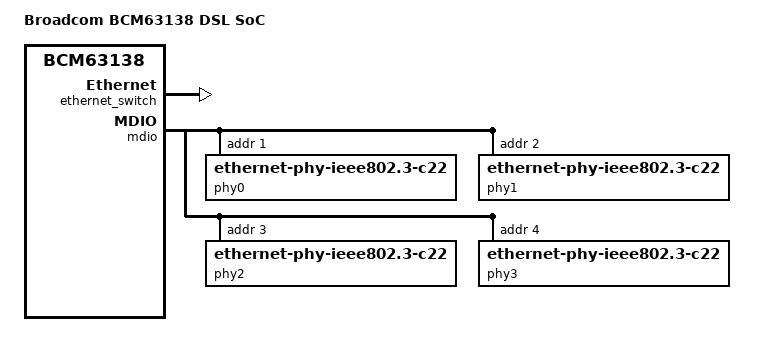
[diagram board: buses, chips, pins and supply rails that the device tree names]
/*
 * Broadcom BCM63138 DSL SoCs Device Tree
 */

#include <dt-bindings/interrupt-controller/arm-gic.h>
#include <dt-bindings/interrupt-controller/irq.h>

#include "skeleton.dtsi"

/ {
	compatible = "brcm,bcm63138";
	model = "Broadcom BCM63138 DSL SoC";
	interrupt-parent = <&gic>;

	aliases {
		uart0 = &serial0;
		uart1 = &serial1;
	};

	cpus {
		#address-cells = <1>;
		#size-cells = <0>;

		cpu@0 {
			device_type = "cpu";
			compatible = "arm,cortex-a9";
			next-level-cache = <&L2>;
			reg = <0>;
		};

		cpu@1 {
			device_type = "cpu";
			compatible = "arm,cortex-a9";
			next-level-cache = <&L2>;
			reg = <1>;
		};
	};

	clocks {
		#address-cells = <1>;
		#size-cells = <0>;

		arm_timer_clk: arm_timer_clk {
			#clock-cells = <0>;
			compatible = "fixed-clock";
			clock-frequency = <500000000>;
		};

		periph_clk: periph_clk {
			#clock-cells = <0>;
			compatible = "fixed-clock";
			clock-frequency = <50000000>;
			clock-output-names = "periph";
		};
	};

	/* ARM bus */
	axi@80000000 {
		compatible = "simple-bus";
		ranges = <0 0x80000000 0x784000>;
		#address-cells = <1>;
		#size-cells = <1>;

		L2: cache-controller@1d000 {
			compatible = "arm,pl310-cache";
			reg = <0x1d000 0x1000>;
			cache-unified;
			cache-level = <2>;
			cache-size = <524288>;
			cache-sets = <1024>;
			cache-line-size = <32>;
			interrupts = <GIC_PPI 0 IRQ_TYPE_LEVEL_HIGH>;
		};

		scu: scu@1e000 {
			compatible = "arm,cortex-a9-scu";
			reg = <0x1e000 0x100>;
		};

		gic: interrupt-controller@1e100 {
			compatible = "arm,cortex-a9-gic";
			reg = <0x1f000 0x1000
				0x1e100 0x100>;
			#interrupt-cells = <3>;
			#address-cells = <0>;
			interrupt-controller;
		};

		global_timer: timer@1e200 {
			compatible = "arm,cortex-a9-global-timer";
			reg = <0x1e200 0x20>;
			interrupts = <GIC_PPI 11 IRQ_TYPE_LEVEL_HIGH>;
			clocks = <&arm_timer_clk>;
		};

		local_timer: local-timer@1e600 {
			compatible = "arm,cortex-a9-twd-timer";
			reg = <0x1e600 0x20>;
			interrupts = <GIC_PPI 13 IRQ_TYPE_LEVEL_HIGH>;
			clocks = <&arm_timer_clk>;
		};

		twd_watchdog: watchdog@1e620 {
			compatible = "arm,cortex-a9-twd-wdt";
			reg = <0x1e620 0x20>;
			interrupts = <GIC_PPI 14 IRQ_TYPE_LEVEL_HIGH>;
		};
                switch_top@800000 {
                        #address-cells = <1>;
                        #size-cells = <1>;
                        compatible = "brcm,bcm63138-switch-top-v3.19",
                                "simple-bus";
                        ranges = <0 0x80000 0x40804>;

                        ethernet_switch: ethernet_switch@0 {
                                #address-cells = <2>;
                                #size-cells = <0>;
                                brcm,num-acb-queues = <64>;
                                brcm,num-gphy = <1>;
                                brcm,num-rgmii-ports = <4>;
                                compatible = "brcm,bcm63138-switch-v1.1",
                                        "brcm,bcm53012";
                                /*dsa,ethernet = <&enet_0>;*/
				dsa,mii-bus = <&mdio>;
                                reg = <0x0 0x40000 0x40000 0x120
                                        0x40340 0x30 0x40380 0x30
                                        0x40400 0x34 0x40600 0x208>;
                                reg-names = "core",
                                        "reg",
                                        "intrl2_0",
                                        "intrl2_1",
                                        "fcb",
                                        "acb";
                                interrupts = <0 58 0 0 59 0x0>;
                                interrupt-names = "switch_0",
                                        "switch_1";
                                brcm,fcb-pause-override;
                                brcm,acb-packets-inflight;

                                switch@0 {
                                        #address-cells = <1>;
                                        #size-cells = <0>;
                                        reg = <0 0>;

                                        port0: port@0 {
                                                reg = <0>;
                                                label = "gphy1";
						phy-handle = <&phy0>;
                                        };

                                        /*port1: port@1 {*/
                                                /*reg = <1>;*/
                                                /*label = "gphy2";*/
						/*phy-handle = <&phy1>;*/
                                        /*};*/

                                        /*port2: port@2 {*/
                                                /*reg = <2>;*/
                                                /*label = "gphy3";*/
						/*phy-handle = <&phy2>;*/
                                        /*};*/

                                        /*port3: port@3 {*/
                                                /*reg = <3>;*/
                                                /*label = "gphy3";*/
						/*phy-handle = <&phy3>;*/
                                        /*};*/

                                        port8: port@8 {
                                                reg = <8>;
                                                label = "cpu";
                                        };
                                };
                        };

			mdio: mdio@403C0 {
				compatible = "brcm,bcm63138-mdio-v0.0", "brcm,unimac-mdio";
				reg = <0x403c0 0x8 0x40300 0x18>;
				#address-cells = <0>;
				#size-cells = <1>;

				phy0: ethernet-phy@1 {
					device_type = "ethernet-phy";
					compatible = "ethernet-phy-ieee802.3-c22";
					reg = <1>;
				};

				phy1: ethernet-phy@2 {
					device_type = "ethernet-phy";
					compatible = "ethernet-phy-ieee802.3-c22";
					reg = <2>;
				};

				phy2: ethernet-phy@3 {
					device_type = "ethernet-phy";
					compatible = "ethernet-phy-ieee802.3-c22";
					reg = <3>;
				};
				phy3: ethernet-phy@4 {
					device_type = "ethernet-phy";
					compatible = "ethernet-phy-ieee802.3-c22";
					reg = <4>;
				};
			};
		};
	};

	/* Legacy UBUS base */
	ubus@fffe8000 {
		compatible = "simple-bus";
		#address-cells = <1>;
		#size-cells = <1>;
		ranges = <0 0xfffe8000 0x8100>;

		serial0: serial@600 {
			compatible = "brcm,bcm6345-uart";
			reg = <0x600 0x1b>;
			interrupts = <GIC_SPI 32 0>;
			clocks = <&periph_clk>;
			clock-names = "periph";
			status = "disabled";
		};

		serial1: serial@620 {
			compatible = "brcm,bcm6345-uart";
			reg = <0x620 0x1b>;
			interrupts = <GIC_SPI 33 0>;
			clocks = <&periph_clk>;
			clock-names = "periph";
			status = "disabled";
		};
	};
};
